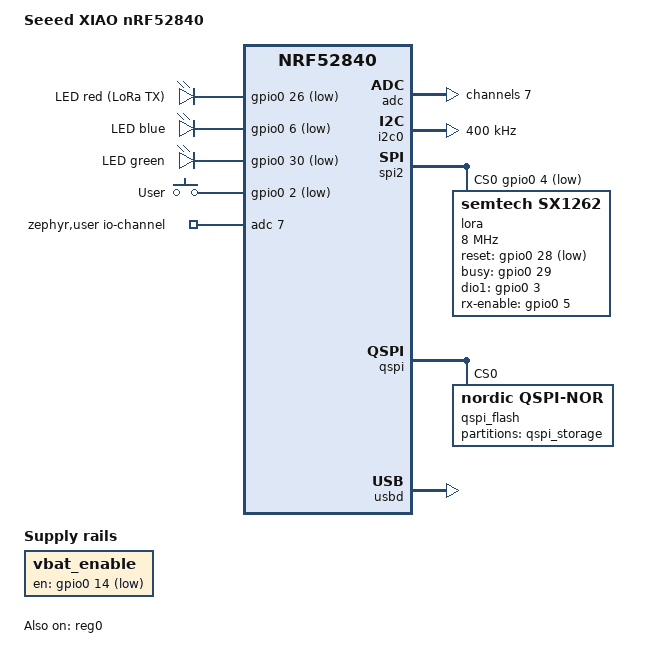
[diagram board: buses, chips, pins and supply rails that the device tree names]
/*
 * Seeed XIAO nRF52840 + Wio-SX1262 on headers
 * SPDX-License-Identifier: MIT
 *
 * MeshCore variants/xiao_nrf52 (plain XIAO, no GPS):
 * - SX1262: CS/RST/BUSY/DIO1/RXEN = P0.04/28/29/03/05 (D4–D1, D5)
 * - SPI: P1.13/14/15 (D8–D10); DIO2 RF switch; TCXO 1.8V
 * - LEDs: red P0.26 (D11, MeshCore P_LORA_TX_LED), blue P0.06 (D12), green P0.30 (D13), active-low
 * - User button: D0 = P0.02
 * - Battery: AIN7 P0.31, divider enable P0.14 (D14), active-low enable
 * - I2C: P1.12 SDA / P1.11 SCL (MeshCore Wire on D7/D6 when LoRa uses D4/D5)
 * - UART0 not used (pins shared with I2C in this layout)
 */

/dts-v1/;
#include <nordic/nrf52840_qiaa.dtsi>
#include <nordic/nrf52840_partition.dtsi>
#include <zephyr/dt-bindings/lora/sx126x.h>
#include <zephyr/dt-bindings/adc/nrf-saadc.h>
#include <zephyr/dt-bindings/input/input-event-codes.h>
#include "xiao_nrf52840_nrf52840-pinctrl.dtsi"

/delete-node/ &boot_partition;
/delete-node/ &slot0_partition;
/delete-node/ &slot1_partition;
/delete-node/ &storage_partition;

/ {
	model = "Seeed XIAO nRF52840";
	compatible = "seeed,xiao-nrf52840";

	chosen {
		zephyr,code-partition = &code_partition;
		zephyr,console = &cdc_acm_uart;
		zephyr,shell-uart = &cdc_acm_uart;
	};

	leds {
		compatible = "gpio-leds";

		/* MeshCore LED_STATE_ON 0 → active-low */
		led_red: led_0 {
			gpios = <&gpio0 26 GPIO_ACTIVE_LOW>;
			label = "LED red (LoRa TX)";
		};

		led_blue: led_1 {
			gpios = <&gpio0 6 GPIO_ACTIVE_LOW>;
			label = "LED blue";
		};

		led_green: led_2 {
			gpios = <&gpio0 30 GPIO_ACTIVE_LOW>;
			label = "LED green";
		};
	};

	buttons: buttons {
		compatible = "gpio-keys";

		user_button: button_0 {
			gpios = <&gpio0 2 (GPIO_PULL_UP | GPIO_ACTIVE_LOW)>;
			zephyr,code = <INPUT_KEY_0>;
			label = "User";
		};
	};

	user_btn_longpress {
		compatible = "zephyr,input-longpress";
		input = <&buttons>;
		input-codes = <INPUT_KEY_0>;
		short-codes = <INPUT_KEY_A>;
		long-codes = <INPUT_KEY_POWER>;
		long-delay-ms = <1000>;
	};

	user_btn_multitap {
		compatible = "zephcore,input-multi-tap";
		input-codes = <INPUT_KEY_A>;
		tap-codes = <INPUT_KEY_1 INPUT_KEY_B INPUT_KEY_D INPUT_KEY_C INPUT_KEY_E>;
		tap-delay-ms = <400>;
	};

	vbat_enable: vbat-enable {
		compatible = "regulator-fixed";
		regulator-name = "vbat-enable";
		enable-gpios = <&gpio0 14 GPIO_ACTIVE_LOW>;
	};

	zephyr,user {
		io-channels = <&adc 7>;
		/* mV = raw * mult / 4096; mult from two-point DMM calibration (Zephyr SAADC path) */
		vbat-mv-multiplier = <10911>;
	};

	aliases {
		led0 = &led_blue;
		led1 = &led_green;
		lora-tx-led = &led_red;
		sw0 = &user_button;
		lora0 = &lora;
		watchdog0 = &wdt0;
	};
};

&reg0 {
	status = "okay";
};

&reg1 {
	regulator-initial-mode = <NRF5X_REG_MODE_DCDC>;
};

&adc {
	status = "okay";
	#address-cells = <1>;
	#size-cells = <0>;

	channel@7 {
		reg = <7>;
		zephyr,gain = "ADC_GAIN_1_6";
		zephyr,reference = "ADC_REF_INTERNAL";
		zephyr,acquisition-time = <ADC_ACQ_TIME(ADC_ACQ_TIME_MICROSECONDS, 10)>;
		zephyr,input-positive = <NRF_SAADC_AIN7>;
		zephyr,resolution = <12>;
	};
};

&uicr {
	nfct-pins-as-gpios;
};

&gpiote {
	status = "okay";
};

&gpio0 {
	status = "okay";
};

&gpio1 {
	status = "okay";
};

&uart0 {
	status = "disabled";
};

&i2c0 {
	compatible = "nordic,nrf-twim";
	status = "okay";
	clock-frequency = <I2C_BITRATE_FAST>;
	pinctrl-0 = <&i2c0_default>;
	pinctrl-1 = <&i2c0_sleep>;
	pinctrl-names = "default", "sleep";

	#include "../../common/sensors-i2c.dtsi"
};

&spi2 {
	compatible = "nordic,nrf-spim";
	status = "okay";
	cs-gpios = <&gpio0 4 GPIO_ACTIVE_LOW>;
	pinctrl-0 = <&spi2_default>;
	pinctrl-1 = <&spi2_sleep>;
	pinctrl-names = "default", "sleep";

	lora: lora@0 {
		compatible = "semtech,sx1262";
		reg = <0>;
		reset-gpios = <&gpio0 28 GPIO_ACTIVE_LOW>;
		busy-gpios = <&gpio0 29 GPIO_ACTIVE_HIGH>;
		dio1-gpios = <&gpio0 3 (GPIO_PULL_DOWN | GPIO_ACTIVE_HIGH)>;
		rx-enable-gpios = <&gpio0 5 GPIO_ACTIVE_HIGH>;
		dio2-tx-enable;
		dio3-tcxo-voltage = <SX126X_DIO3_TCXO_1V8>;
		tcxo-power-startup-delay-ms = <5>;
		spi-max-frequency = <8000000>;
		rx-boosted;
	};
};

&qspi {
	status = "okay";
	pinctrl-0 = <&qspi_default>;
	pinctrl-1 = <&qspi_sleep>;
	pinctrl-names = "default", "sleep";

	qspi_flash: qspi_flash@0 {
		compatible = "nordic,qspi-nor";
		reg = <0>;
		writeoc = "pp";
		readoc = "fastread";
		sck-frequency = <16000000>;
		jedec-id = [85 60 15];
		sfdp-bfp = [
			e5 20 f1 ff  ff ff ff 01  44 eb 08 6b  08 3b 04 bb
			ee ff ff ff  ff ff 00 ff  ff ff 00 ff  0c 20 0f 52
			10 d8 00 ff
		];
		size = <16777216>;
		has-dpd;
		t-enter-dpd = <3000>;
		t-exit-dpd = <50000>;
	};
};

zephyr_udc0: &usbd {
	compatible = "nordic,nrf-usbd";
	status = "okay";

	cdc_acm_uart: cdc_acm_uart {
		compatible = "zephyr,cdc-acm-uart";
	};
};

#include "../../common/nrf52_partitions_sdv7.dtsi"

&qspi_flash {
	partitions {
		compatible = "fixed-partitions";
		#address-cells = <1>;
		#size-cells = <1>;

		qspi_storage_partition: partition@0 {
			label = "qspi_storage";
			reg = <0x00000000 0x00200000>;
		};
	};
};
#include "../../common/nrf52_wakeup.dtsi"
